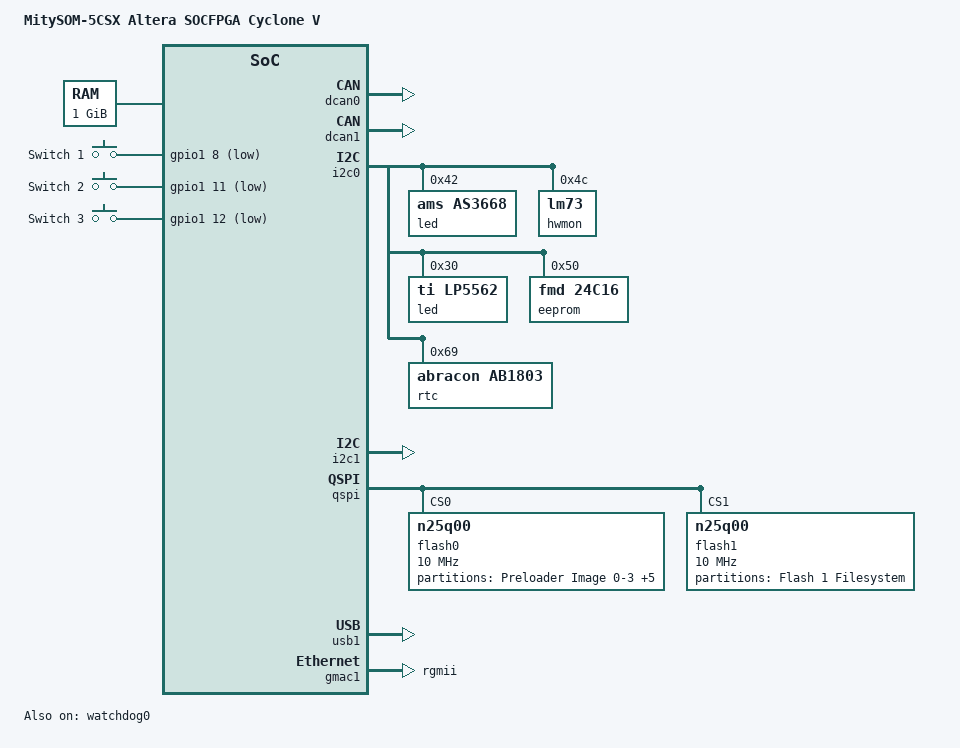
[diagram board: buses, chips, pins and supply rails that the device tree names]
/*
 *  Copyright (C) 2012 Altera Corporation <www.altera.com>
 *
 * This program is free software; you can redistribute it and/or modify
 * it under the terms of the GNU General Public License as published by
 * the Free Software Foundation; either version 2 of the License, or
 * (at your option) any later version.
 *
 * This program is distributed in the hope that it will be useful,
 * but WITHOUT ANY WARRANTY; without even the implied warranty of
 * MERCHANTABILITY or FITNESS FOR A PARTICULAR PURPOSE.  See the
 * GNU General Public License for more details.
 *
 * You should have received a copy of the GNU General Public License
 * along with this program.  If not, see <http://www.gnu.org/licenses/>.
 */

/dts-v1/;
#include "socfpga.dtsi"

/ {
	model = "MitySOM-5CSX Altera SOCFPGA Cyclone V";
	compatible = "altr,socfpga-cyclone5", "altr,socfpga";

	chosen {
		bootargs = "console=ttyS0,115200 root=/dev/mmcblk0p2 rw rootwait";
	};

	memory {
		name = "memory";
		device_type = "memory";
		reg = <0x0 0x40000000>; /* 1 GB */
	};

	aliases {
		/* this allow the ethaddr uboot environmnet variable contents
		 * to be added to the gmac1 device tree blob.
		 */
		ethernet0 = &gmac1;
	};

	soc {
		clkmgr@ffd04000 {
			clocks {
				osc1 {
					clock-frequency = <25000000>;
				};
			};
		};

		/* On DevKit Board */
		dcan0: can@ffc00000 {
			status = "okay";
		};

		/* On DevKit Board */
		dcan1: can@ffc01000 {
			status = "okay";
		};

		gpio@ff708000 {
			status = "okay";
		};

		gpio@ff709000 {
			status = "okay";
		};

		gpio@ff70a000 {
			status = "okay";
		};

		dwmmc0@ff704000 {
			num-slots = <1>;
			supports-highspeed;
			broken-cd;
			altr,dw-mshc-ciu-div = <3>;
			altr,dw-mshc-sdr-timing = <0 3>;

			slot@0 {
				reg = <0>;
				bus-width = <4>;
			};
		};

		i2c0: i2c@ffc04000 {
			speed-mode = <0>;
			status = "okay";
		};

		/* on DevKit Baseboard */
		i2c1: i2c@ffc05000 {
			speed-mode = <0>;
			status = "okay";
		};

		qspi: spi@ff705000 {
			compatible = "cadence,qspi";
                        #address-cells = <1>;
			#size-cells = <0>;
			reg = <0xff705000 0x1000>,
				<0xffa00000 0x1000>;
			interrupts = <0 151 4>;
			master-ref-clk = <400000000>;
			ext-decoder = <0>;  /* external decoder */
			num-chipselect = <4>;
			fifo-depth = <128>;
			bus-num = <2>;

			flash0: n25q00@0 {
				#address-cells = <1>;
				#size-cells = <1>;
				compatible = "n25q00";
				reg = <0>;      /* chip select */
				spi-max-frequency = <10000000>;
				m25p,fast-read;
				page-size = <256>;
				block-size = <16>; /* 2^16, 64KB */
				read-delay = <4>;  /* delay value in read data capture register */
				tshsl-ns = <50>;
				tsd2d-ns = <50>;
				tchsh-ns = <4>;
				tslch-ns = <4>;

				partition@qspi-preloader {
					/* 64 KB for preloader image 0-3. */
					label = "Preloader Image 0-3";
					reg = <0x0 0x40000>;
				};
				partition@qspi-ubootenv {
					/* 64 KB for u-Boot Env. */
					label = "U-Boot Env";
					reg = <0x40000 0x10000>;
				};
				partition@qspi-dtb {
					/* 64 KB for DTB */
					label = "DTB";
					reg = <0x50000 0x10000>;
				};
				partition@qspi-uboot {
					/* 512 KB for U-Boot */
					label = "U-Boot";
					reg = <0x60000 0x80000>;
				};
				partition@qspi-kernel {
					/* 8 MB for Kernel */
					label = "Kernel";
					reg = <0xE0000 0x800000>;
				};
				partition@qspi-rootfs {
					/* 7.125 MB for jffs2 data. */
					label = "Flash 0 jffs2 Filesystem";
					reg = <0x8E0000 0x720000>;
				};
			};

			flash1: n25q00@1 {
				#address-cells = <1>;
				#size-cells = <1>;
				compatible = "n25q00";
				reg = <1>;      /* chip select */
				spi-max-frequency = <10000000>;
				m25p,fast-read;
				page-size = <256>;
				block-size = <16>; /* 2^16, 64KB */
				read-delay = <4>;  /* delay value in read data capture register */
				tshsl-ns = <50>;
				tsd2d-ns = <50>;
				tchsh-ns = <4>;
				tslch-ns = <4>;

				partition@0 {
					/* 16MB for raw data. */
					label = "Flash 1 Filesystem";
					reg = <0x0 0x1000000>;
				};
			};
		};

		timer0@ffc08000 {
			clock-frequency = <100000000>;
		};

		timer1@ffc09000 {
			clock-frequency = <100000000>;
		};

		timer2@ffd00000 {
			clock-frequency = <25000000>;
		};

		timer3@ffd01000 {
			clock-frequency = <25000000>;
		};

		serial0@ffc02000 {
			clock-frequency = <100000000>;
		};

		serial1@ffc03000 {
			clock-frequency = <100000000>;
		};

		sysmgr@ffd08000 {
			cpu1-start-addr = <0xffd080c4>;
		};

	};

	/* on DevKit Board */
	gpio_keys {
		compatible = "gpio-keys";
		#address-cells = <1>;
		#size-cells = <0>;
		/* GPIO 37 */
		button@1 {
			label = "Switch 1";
			linux,code = <0x101>;
			gpios = <&gpio1 8 1>;
			debounce-interval = <100>;
		};
		/* GPIO 40 */
		button@2 {
			label = "Switch 2";
			linux,code = <0x102>;
			gpios = <&gpio1 11 1>;
			debounce-interval = <100>;
		};
		/* GPIO 41 */
		button@3 {
			label = "Switch 3";
			linux,code = <0x103>;
			gpios = <&gpio1 12 1>;
			debounce-interval = <100>;
		};
	};
};

&usb1 {
	status = "okay";
};

&watchdog0 {
	status = "okay";
};

&i2c0 {
	/* on SOM */
	led@42 {
		device_type = "led";
		compatible = "ams,as3668";
		reg = <0x42>;
	};
	hwmon@4C {
		compatible = "lm73";
		reg = <0x4C>;
	};
	led@30 {
		compatible = "ti,lp5562";
		reg = <0x30>;
		clock-mode = /bits/8 <2>;

		chan0 {
			chan-name = "R";
			led-cur = /bits/ 8 <0x20>;
			max-cur = /bits/ 8 <0x60>;
		};

		chan1 {
			chan-name = "G";
			led-cur = /bits/ 8 <0x20>;
			max-cur = /bits/ 8 <0x60>;
		};

		chan2 {
			chan-name = "B";
			led-cur = /bits/ 8 <0x20>;
			max-cur = /bits/ 8 <0x60>;
		};

		chan3 {
			chan-name = "G1";
			led-cur = /bits/ 8 <0x20>;
			max-cur = /bits/ 8 <0x60>;
		};
	};
	/* on SOM */
	eeprom@50 {
		compatible = "fmd,24c16";
		reg = <0x50>;
	};
	/* on SOM */
	rtc@69 {
		device_type = "rtc";
		compatible = "abracon,ab1803";
		reg = <0x69>;
	};
};

&gmac1 {
	phy-mode = "rgmii";
	snps,phy-addr = <0xffffffff>; /* probe for phy addr */
	rxd0-skew-ps = <0>;
	rxd0-skew-ps = <0>;
	rxd1-skew-ps = <0>;
	rxd2-skew-ps = <0>;
	rxd3-skew-ps = <0>;
	txen-skew-ps = <0>;
	txc-skew-ps = <2600>;
	rxdv-skew-ps = <0>;
	rxc-skew-ps = <2000>;
	snps,max-mtu = <4062>;
	status = "okay";
};
